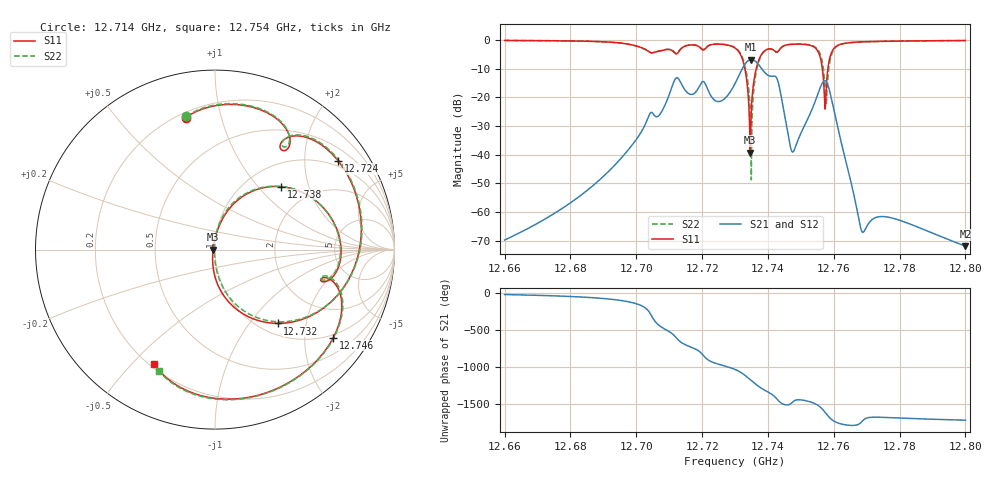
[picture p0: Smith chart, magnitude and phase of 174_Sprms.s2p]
! TOUCHSTONE file generated by CST MICROWAVE STUDIO
! Date and time: Wed Jul 31 19:40:22 2024
! Project name: WaveGuide_BPF-Ver4.1_U-shape_Ku_T3_C4_CWA_2.cst
! Parameters = {cavity_h=16; cavity_l0=10; cavity_l1=15.1637; cavity_l2=16.8708; cavity_l3=17.0657; cavity_l4=17.2375; cavity_l5=17.165; cavity_l6=17.6121; cavity_r=2.5; cavity_screw_l=0.5; cavity_screw_r=1.5; cavity_w=8; iris_h00=0; iris_h01=8.8406; iris_h112=0; iris_h12=5.6091; iris_h211=3.6679; i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
! Header version: 2018
! Port assignment regex: !\s*Touchstone port\s*([0-9]+)\s*=\s*(CST MWS port|CST DS port)\s*([0-9]+|Zmin|Zmax)\s*\(\"(.*)\"\)(\s*mode\s*([0-9]+))?.*
! Touchstone port assignment:
! Touchstone port 1 = CST MWS port 1 ("")
! Touchstone port 2 = CST MWS port 2 ("")
# GHz S RI R 50
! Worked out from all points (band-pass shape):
!   5001 points, 12.66 GHz to 12.8 GHz, reference 50 ohm
!   highest |S21| = -6.86 dB at 12.735 GHz (marker M1); lowest = -71.9 dB at 12.8 GHz (marker M2)
!   |S21| within 3 dB of the highest: 12.73229 GHz to 12.73801 GHz (5.724 MHz wide, 0.0449 % of centre)
!   lowest |S11| = -39.3 dB at 12.735 GHz (marker M3), VSWR 1.02, Z = 48.9 - j0.12 ohm
!   |S11| at or under -10 dB: 12.733 GHz to 12.73645 GHz (3.45 MHz wide, 0.0271 % of centre); 12.75654 GHz to 12.75822 GHz (1.677 MHz wide, 0.0131 % of centre)
!   |S22| runs from -48.8 to -0.2 dB; largest |S21 - S12| = 1e-09
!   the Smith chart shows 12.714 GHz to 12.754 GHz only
!   S11 on the Smith chart (normalised r, x): 12.714 GHz: 0.23, +0.78; 12.724 GHz: 0.83, +2.89; 12.732 GHz: 1.20, -1.39; 12.738 GHz: 1.42, +1.34; 12.746 GHz: 0.91, -2.75; 12.754 GHz: 0.22, -0.58
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12.66  0.2965 0.936  0.0003 -0.000121  0.0003 -0.000121  0.2981 0.9356
12.68335  0.7136 0.6362  0.00113 -0.00164  0.00113 -0.00164  0.714 0.6358
12.69763  0.8077 -0.2491  -0.00604 -0.0107  -0.00604 -0.0107  0.8067 -0.2508
12.70259  0.1414 -0.6781  -0.0311 0.00925  -0.0311 0.00925  0.1358 -0.6784
12.70668  -0.5928 -0.2273  0.0173 -0.0436  0.0173 -0.0436  -0.5968 -0.2219
12.71426  -0.1626 0.7358  0.1222 0.0879  0.1222 0.0879  -0.1601 0.7422
12.72406  0.687 0.4936  -0.0576 0.0653  -0.0576 0.0653  0.6881 0.4996
12.73  0.6785 -0.2585  0.1154 0.1289  0.1154 0.1289  0.7012 -0.2329
12.73179  0.3489 -0.4112  0.2799 0.0364  0.2799 0.0364  0.4 -0.401
12.73459  -0.0108 -0.00122  0.0155 -0.4511  0.0155 -0.4511  -0.000195 -0.0632
12.73496  -1.35e-05 0.0603  -0.0909 -0.445  -0.0909 -0.445  -0.00363 0.000188
12.73764  0.3681 0.3506  -0.3323 0.0863  -0.3323 0.0863  0.3379 0.3535
12.74274  0.5897 -0.1639  0.2098 0.0348  0.2098 0.0348  0.5909 -0.1549
12.74576  0.6595 -0.4898  0.0096 -0.0277  0.0096 -0.0277  0.6678 -0.4798
12.74775  0.4909 -0.6875  0.0106 -0.00417  0.0106 -0.00417  0.5041 -0.6798
12.75335  -0.1993 -0.764  0.0487 -0.0362  0.0487 -0.0362  -0.1684 -0.7848
12.75444  -0.3418 -0.6362  0.0477 -0.0732  0.0477 -0.0732  -0.3125 -0.6786
12.75828  0.2491 -0.2248  -0.1221 0.1021  -0.1221 0.1021  0.1783 -0.1578
12.7617  -0.00366 -0.8286  0.0173 0.0144  0.0173 0.0144  0.0132 -0.8189
12.76858  -0.5749 -0.7267  0.000178 0.000415  0.000178 0.000415  -0.5721 -0.7281
12.77668  -0.844 -0.4407  -0.000393 0.000707  -0.000393 0.000707  -0.8436 -0.4411
12.8  -0.9659 0.152  2.62e-05 0.000251  2.62e-05 0.000251  -0.9656 0.1538
